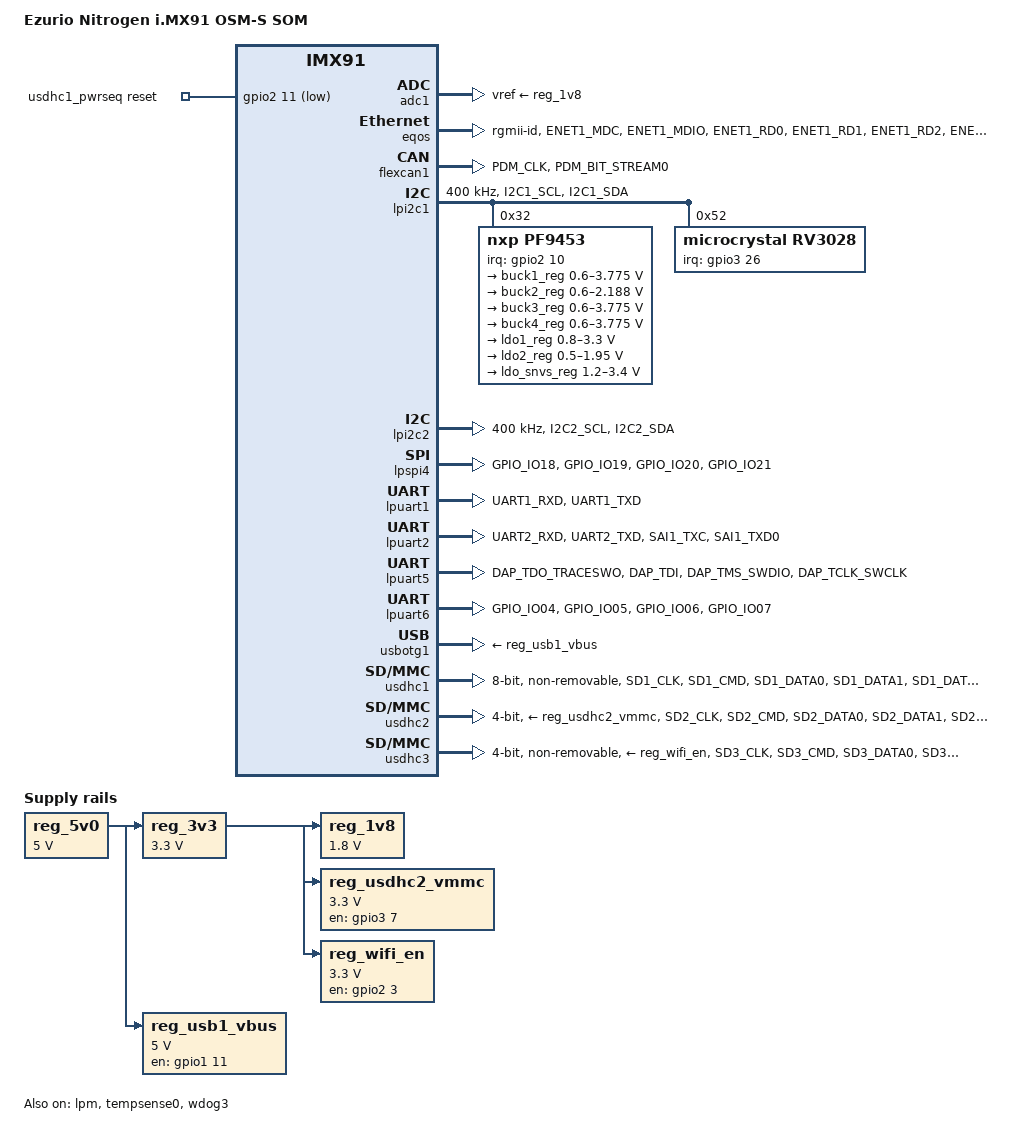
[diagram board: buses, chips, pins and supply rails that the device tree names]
// SPDX-License-Identifier: (GPL-2.0-or-later OR MIT)
/*
 * Nitrogen91 OSM-S SOM (Ezurio 750-00426 / 940-00186)
 *
 * Copyright 2026 Ezurio LLC
 *
 */

/dts-v1/;

#include <dt-bindings/gpio/gpio.h>
#include <dt-bindings/input/input.h>
#include <dt-bindings/interrupt-controller/irq.h>
#include <dt-bindings/leds/common.h>
#include <dt-bindings/usb/pd.h>

#include "imx91.dtsi"

/ {
	compatible = "summit,nitrogen-imx91-osm-s", "fsl,imx91";
	model = "Ezurio Nitrogen i.MX91 OSM-S SOM";

	aliases {
		mmc0 = &usdhc1;			/* eMMC */
		mmc1 = &usdhc2;			/* SDIO_A */
		mmc2 = &usdhc3;			/* On-SOM Wi-Fi */
		serial0 = &lpuart1;		/* UART_CON */
		serial1 = &lpuart2;		/* UART_A */
		serial2 = &lpuart5;		/* On-SOM BT HCI */
		serial3 = &lpuart6;		/* UART_B */
		ethernet0 = &eqos;		/* ETH_A */
		i2c0 = &lpi2c1;			/* I2C_B (also PMIC/RTC) */
		i2c1 = &lpi2c2;			/* I2C_A */
		spi0 = &lpspi4;			/* SPI_A */
		can0 = &flexcan1;		/* CAN_A */
		usb0 = &usbotg1;		/* USB_A */
		gpio0 = &gpio1;
		gpio1 = &gpio2;
		gpio2 = &gpio3;
		gpio3 = &gpio4;
		rtc0 = &rv3028;
		rtc1 = &bbnsm_rtc;
	};

	chosen {
		stdout-path = "serial0:115200n8";
	};

	reserved-memory {
		#address-cells = <2>;
		#size-cells = <2>;
		ranges;

		/* global cma region */
		linux_cma: linux,cma {
			compatible = "shared-dma-pool";
			reusable;
			alloc-ranges = <0 0x80000000 0 0x40000000>;
			size = <0 0x10000000>;
			linux,cma-default;
		};

		ele_reserved: ele-reserved@a4120000 {
			compatible = "shared-dma-pool";
			reg = <0 0xa4120000 0 0x100000>;
			no-map;
		};
	};

	reg_5v0: regulator-5v0 {
		compatible = "regulator-fixed";
		regulator-name = "reg_5v0";

		regulator-min-microvolt = <5000000>;
		regulator-max-microvolt = <5000000>;

		regulator-always-on;
		regulator-boot-on;
	};

	reg_3v3: regulator-3v3 {
		compatible = "regulator-fixed";
		regulator-name = "reg_3v3";

		vin-supply = <&reg_5v0>;
		regulator-min-microvolt = <3300000>;
		regulator-max-microvolt = <3300000>;

		regulator-always-on;
		regulator-boot-on;
	};

	reg_1v8: regulator-1v8 {
		compatible = "regulator-fixed";
		regulator-name = "reg_1v8";

		vin-supply = <&reg_3v3>;
		regulator-min-microvolt = <1800000>;
		regulator-max-microvolt = <1800000>;

		regulator-always-on;
		regulator-boot-on;
	};

	reg_usdhc2_vmmc: regulator-usdhc2-vmmc {
		compatible = "regulator-fixed";
		regulator-name = "reg_usdhc2_vmmc";
		regulator-min-microvolt = <3300000>;
		regulator-max-microvolt = <3300000>;
		vin-supply = <&reg_3v3>;

		pinctrl-names = "default";
		pinctrl-0 = <&pinctrl_reg_usdhc2_vmmc>;
		gpios = <&gpio3 7 GPIO_ACTIVE_HIGH>;	/* SDIO_A_VMMC_EN */
		enable-active-high;

		off-on-delay-us = <12000>;
	};

	reg_usb1_vbus: regulator-usb1-vbus {
		compatible = "regulator-fixed";
		regulator-name = "reg_usb1_vbus";
		regulator-min-microvolt = <5000000>;
		regulator-max-microvolt = <5000000>;
		vin-supply = <&reg_5v0>;

		pinctrl-names = "default";
		pinctrl-0 = <&pinctrl_usb1_vbus>;
		gpios = <&gpio1 11 GPIO_ACTIVE_HIGH>;
		enable-active-high;
	};

	reg_wifi_en: regulator-wifi-en {
		compatible = "regulator-fixed";
		regulator-name = "reg_wifi_en";

		vin-supply = <&reg_3v3>;
		regulator-min-microvolt = <3300000>;
		regulator-max-microvolt = <3300000>;

		pinctrl-names = "default";
		pinctrl-0 = <&pinctrl_wlan_en>;
		gpios = <&gpio2 3 GPIO_ACTIVE_HIGH>;	/* W_DISABLE1# / WL_EN */
		enable-active-high;
	};

	wifi_wakeup: wifi-wakeup {
		compatible = "gpio-keys";

		status = "disabled";

		pinctrl-names = "default";
		pinctrl-0 = <&pinctrl_wifi_wakeup>;

		wifi-wake {
			label = "Wi-Fi Wake Up";
			linux,code = <KEY_WAKEUP>;
			wakeup-source;

			interrupts-extended = <&gpio2 8 IRQ_TYPE_LEVEL_LOW>;	/* SDIO_HOST_WAKE# */
			interrupt-names = "irq";
		};

		bt-wake {
			label = "BT Wake Up";
			linux,code = <KEY_WAKEUP>;
			wakeup-source;

			interrupts-extended = <&gpio2 2 IRQ_TYPE_LEVEL_LOW>;	/* UART_HOST_WAKE# */
			interrupt-names = "irq";
		};
	};

	usdhc1_pwrseq: usdhc1-pwrseq {
		compatible = "mmc-pwrseq-emmc";

		pinctrl-names = "default";
		pinctrl-0 = <&pinctrl_usdhc1_reset>;
		reset-gpios = <&gpio2 11 GPIO_ACTIVE_LOW>;
	};

	display-subsystem {
		status = "disabled";
	};
};

&adc1 {
	vref-supply = <&reg_1v8>;
};

&ele_fw2 {
	memory-region = <&ele_reserved>;
};

&eqos {
	/* ETH_A - SOM routes RGMII pads; carrier picks PHY/handle */
	pinctrl-names = "default", "sleep";
	pinctrl-0 = <&pinctrl_eqos>;
	pinctrl-1 = <&pinctrl_eqos_sleep>;

	phy-mode = "rgmii-id";

	mdio {
		compatible = "snps,dwmac-mdio";
		#address-cells = <1>;
		#size-cells = <0>;
	};
};

&flexcan1 {
	/* CAN_A - SOM routes pads; carrier adds transceiver supply */
	pinctrl-names = "default", "sleep";
	pinctrl-0 = <&pinctrl_flexcan1>;
	pinctrl-1 = <&pinctrl_flexcan1_sleep>;
};

&lpi2c1 {
	/* I2C_B (also PMIC + on-SOM RTC) */
	pinctrl-names = "default";
	pinctrl-0 = <&pinctrl_lpi2c1>;

	clock-frequency = <400000>;
	status = "okay";

	#address-cells = <1>;
	#size-cells = <0>;

	pf9453: pmic@32 {
		compatible = "nxp,pf9453";
		reg = <0x32>;

		pinctrl-names = "default";
		pinctrl-0 = <&pinctrl_pmic>;
		interrupts-extended = <&gpio2 10 IRQ_TYPE_LEVEL_LOW>;	/* PMIC_IRQ_B */

		regulators {
			buck1_reg: BUCK1 {
				regulator-name = "VDD_SOC";
				regulator-min-microvolt = <600000>;
				regulator-max-microvolt = <3775000>;
				regulator-boot-on;
				regulator-always-on;
			};

			buck2_reg: BUCK2 {
				regulator-name = "VDD_LPDDR4";
				regulator-min-microvolt = <600000>;
				regulator-max-microvolt = <2187500>;
				regulator-boot-on;
				regulator-always-on;
				regulator-ramp-delay = <12500>;
			};

			buck3_reg: BUCK3 {
				regulator-name = "VDD_3V3_SW";
				regulator-min-microvolt = <600000>;
				regulator-max-microvolt = <3775000>;
				regulator-boot-on;
				regulator-always-on;
			};

			buck4_reg: BUCK4 {
				regulator-name = "VDD_1V8_SW";
				regulator-min-microvolt = <600000>;
				regulator-max-microvolt = <3775000>;
				regulator-boot-on;
				regulator-always-on;
			};

			ldo1_reg: LDO1 {
				regulator-name = "VDDA_1V8";
				regulator-min-microvolt = <800000>;
				regulator-max-microvolt = <3300000>;
				regulator-boot-on;
				regulator-always-on;
			};

			ldo2_reg: LDO2 {
				regulator-name = "NVCC_SD2";
				regulator-min-microvolt = <500000>;
				regulator-max-microvolt = <1950000>;
				regulator-boot-on;
				regulator-always-on;
			};

			ldo_snvs_reg: LDO_SNVS {
				regulator-name = "NVCC_SNVS_1V8";
				regulator-min-microvolt = <1200000>;
				regulator-max-microvolt = <3400000>;
				regulator-boot-on;
				regulator-always-on;
			};
		};
	};

	rv3028: rtc@52 {
		compatible = "microcrystal,rv3028";
		reg = <0x52>;

		backup-switchover-dsm;
		pinctrl-names = "default";
		pinctrl-0 = <&pinctrl_rtc>;
		interrupts-extended = <&gpio3 26 IRQ_TYPE_LEVEL_LOW>;	/* CCM_CLKO1 -> RTC_INT */
		interrupt-names = "irq";
		wakeup-source;

		#clock-cells = <0>;

		eeprom {
			compatible = "microcrystal,rv3028-eeprom";
			#address-cells = <1>;
			#size-cells = <1>;

			rtc_eeprom_eth_mac0: mac-address@0 {
				reg = <0x00 0x06>;
			};

			rtc_eeprom_eth_mac1: mac-address@6 {
				reg = <0x06 0x06>;
			};

			ram_type: ram-type@c {
				reg = <0x0c 0x02>;
			};

			radio_type: radio-type@e {
				reg = <0x0e 0x02>;
			};
		};
	};
};

&lpi2c2 {
	/* I2C_A */
	pinctrl-names = "default";
	pinctrl-0 = <&pinctrl_lpi2c2>;

	clock-frequency = <400000>;

	#address-cells = <1>;
	#size-cells = <0>;
};

&lpm {
	soc-supply = <&buck1_reg>;
	status = "okay";
};

&lpspi4 {
	/* SPI_A */
	pinctrl-names = "default", "sleep";
	pinctrl-0 = <&pinctrl_lpspi4>;
	pinctrl-1 = <&pinctrl_lpspi4>;

	fsl,spi-num-chipselects = <1>;
};

&lpuart1 {
	/* UART_CON */
	pinctrl-names = "default";
	pinctrl-0 = <&pinctrl_uart1>;
	status = "okay";
};

&lpuart2 {
	/* UART_A */
	pinctrl-names = "default";
	pinctrl-0 = <&pinctrl_uart2>;
	uart-has-rtscts;
};

&lpuart5 {
	/* On-SOM Wi-Fi/BT HCI UART */
	pinctrl-names = "default";
	pinctrl-0 = <&pinctrl_uart5>;
	uart-has-rtscts;
};

&lpuart6 {
	/* UART_B */
	pinctrl-names = "default";
	pinctrl-0 = <&pinctrl_uart6>;
};

&tempsense0 {
	status = "okay";
};

&usbotg1 {
	vbus-supply = <&reg_usb1_vbus>;
	samsung,picophy-pre-emp-curr-control = <3>;
	samsung,picophy-dc-vol-level-adjust = <7>;
};

&usdhc1 {
	/* eMMC */
	pinctrl-names = "default", "state_100mhz", "state_200mhz";
	pinctrl-0 = <&pinctrl_usdhc1>;
	pinctrl-1 = <&pinctrl_usdhc1_100mhz>;
	pinctrl-2 = <&pinctrl_usdhc1_200mhz>;

	pwrseq = <&usdhc1_pwrseq>;

	bus-width = <8>;
	non-removable;

	status = "okay";
};

&usdhc2 {
	/* SDIO_A */
	pinctrl-names = "default", "state_100mhz", "state_200mhz", "sleep";
	pinctrl-0 = <&pinctrl_usdhc2>;
	pinctrl-1 = <&pinctrl_usdhc2_100mhz>;
	pinctrl-2 = <&pinctrl_usdhc2_200mhz>;
	pinctrl-3 = <&pinctrl_usdhc2_sleep>;

	vmmc-supply = <&reg_usdhc2_vmmc>;

	bus-width = <4>;
	disable-wp;
};

&usdhc3 {
	/* Wi-Fi/BT */
	pinctrl-names = "default", "state_100mhz", "state_200mhz", "sleep";
	pinctrl-0 = <&pinctrl_usdhc3>;
	pinctrl-1 = <&pinctrl_usdhc3_100mhz>;
	pinctrl-2 = <&pinctrl_usdhc3_200mhz>;
	pinctrl-3 = <&pinctrl_usdhc3_sleep>;

	vmmc-supply = <&reg_wifi_en>;

	bus-width = <4>;
	non-removable;
	keep-power-in-suspend;
};

&wdog3 {
	status = "okay";
};

&iomuxc {
	/* ----- Ethernet (ETH_A / ENET1 RGMII) ----- */
	pinctrl_eqos: eqosgrp {
		fsl,pins = <
			MX91_PAD_ENET1_MDC__ENET1_MDC				0x57e
			MX91_PAD_ENET1_MDIO__ENET_QOS_MDIO			0x57e
			MX91_PAD_ENET1_RD0__ENET_QOS_RGMII_RD0			0x57e
			MX91_PAD_ENET1_RD1__ENET_QOS_RGMII_RD1			0x57e
			MX91_PAD_ENET1_RD2__ENET_QOS_RGMII_RD2			0x57e
			MX91_PAD_ENET1_RD3__ENET_QOS_RGMII_RD3			0x57e
			MX91_PAD_ENET1_RXC__ENET_QOS_RGMII_RXC			0x58e
			MX91_PAD_ENET1_RX_CTL__ENET_QOS_RGMII_RX_CTL		0x57e
			MX91_PAD_ENET1_TD0__ENET_QOS_RGMII_TD0			0x57e
			MX91_PAD_ENET1_TD1__ENET1_RGMII_TD1			0x57e
			MX91_PAD_ENET1_TD2__ENET_QOS_RGMII_TD2			0x57e
			MX91_PAD_ENET1_TD3__ENET_QOS_RGMII_TD3			0x57e
			MX91_PAD_ENET1_TXC__CCM_ENET_QOS_CLOCK_GENERATE_TX_CLK	0x58e
			MX91_PAD_ENET1_TX_CTL__ENET_QOS_RGMII_TX_CTL		0x57e
		>;
	};

	pinctrl_eqos_sleep: eqosgrpsleep {
		fsl,pins = <
			MX91_PAD_ENET1_MDC__GPIO4_IO0				0x31e
			MX91_PAD_ENET1_MDIO__GPIO4_IO1				0x31e
			MX91_PAD_ENET1_RD0__GPIO4_IO10				0x31e
			MX91_PAD_ENET1_RD1__GPIO4_IO11				0x31e
			MX91_PAD_ENET1_RD2__GPIO4_IO12				0x31e
			MX91_PAD_ENET1_RD3__GPIO4_IO13				0x31e
			MX91_PAD_ENET1_RXC__GPIO4_IO9				0x31e
			MX91_PAD_ENET1_RX_CTL__GPIO4_IO8			0x31e
			MX91_PAD_ENET1_TD0__GPIO4_IO5				0x31e
			MX91_PAD_ENET1_TD1__GPIO4_IO4				0x31e
			MX91_PAD_ENET1_TD2__GPIO4_IO3				0x31e
			MX91_PAD_ENET1_TD3__GPIO4_IO2				0x31e
			MX91_PAD_ENET1_TXC__GPIO4_IO7				0x31e
			MX91_PAD_ENET1_TX_CTL__GPIO4_IO6			0x31e
		>;
	};

	/* ----- I2C ----- */
	pinctrl_lpi2c1: lpi2c1grp { /* I2C_A */
		fsl,pins = <
			MX91_PAD_I2C1_SCL__LPI2C1_SCL				0x40000b9e	/* I2C_A_SCL (A12) */
			MX91_PAD_I2C1_SDA__LPI2C1_SDA				0x40000b9e	/* I2C_A_SDA (B12) */
		>;
	};

	pinctrl_lpi2c2: lpi2c2grp { /* I2C_B */
		fsl,pins = <
			MX91_PAD_I2C2_SCL__LPI2C2_SCL				0x40000b9e	/* I2C_B_SCL (A11) */
			MX91_PAD_I2C2_SDA__LPI2C2_SDA				0x40000b9e	/* I2C_B_SDA (B11) */
		>;
	};

	/* ----- On-SOM control signals ----- */
	pinctrl_pmic: pmicgrp {
		fsl,pins = <
			MX91_PAD_GPIO_IO10__GPIO2_IO10				0x31e	/* PMIC_IRQ_B (F17) */
		>;
	};

	pinctrl_rtc: rtcgrp {
		fsl,pins = <
			MX91_PAD_CCM_CLKO1__GPIO3_IO26				0x31e	/* RTC_INT (T4) */
		>;
	};

	pinctrl_wlan_en: wlanengrp {
		fsl,pins = <
			MX91_PAD_GPIO_IO03__GPIO2_IO3				0x31e	/* W_DISABLE1# / WL_EN (C17) */
		>;
	};

	pinctrl_bt_en: btengrp {
		fsl,pins = <
			MX91_PAD_GPIO_IO01__GPIO2_IO1				0x31e	/* W_DISABLE2# / BT_EN (B17) */
		>;
	};

	pinctrl_wifi_wakeup: wifiwakeupgrp {
		fsl,pins = <
			MX91_PAD_GPIO_IO08__GPIO2_IO8				0x131e	/* SDIO_HOST_WAKE# (K14) */
			MX91_PAD_GPIO_IO02__GPIO2_IO2				0x131e	/* UART_HOST_WAKE# (C16) */
		>;
	};

	/* ----- CAN ----- */
	pinctrl_flexcan1: flexcan1grp {	/* CAN_A */
		fsl,pins = <
			MX91_PAD_PDM_CLK__CAN1_TX				0x139e	/* CAN_A_TX (A16) */
			MX91_PAD_PDM_BIT_STREAM0__CAN1_RX			0x139e	/* CAN_A_RX (A10) */
		>;
	};

	pinctrl_flexcan1_sleep: flexcan1sleepgrp {
		fsl,pins = <
			MX91_PAD_PDM_CLK__GPIO1_IO8				0x31e
			MX91_PAD_PDM_BIT_STREAM0__GPIO1_IO9			0x31e
		>;
	};

	/* ----- SPI ----- */
	pinctrl_lpspi4: lpspi4grp {	/* SPI_A */
		fsl,pins = <
			MX91_PAD_GPIO_IO18__LPSPI4_PCS0				0x3fe	/* SPI_A_CS0# (M14) */
			MX91_PAD_GPIO_IO19__LPSPI4_SIN				0x3fe	/* SPI_A_SDI (J17) */
			MX91_PAD_GPIO_IO20__LPSPI4_SOUT				0x3fe	/* SPI_A_SDO (K16) */
			MX91_PAD_GPIO_IO21__LPSPI4_SCK				0x3fe	/* SPI_A_SCK (K17) */
		>;
	};

	/* ----- USB ----- */
	pinctrl_usb1_vbus: usb1vbusgrp { /* USB_A */
		fsl,pins = <
			MX91_PAD_SAI1_TXFS__GPIO1_IO11				0x31e	/* USB_A_VBUS (L14) */
		>;
	};

	/* ----- UARTs ----- */
	pinctrl_uart1: uart1grp {	/* UART_CON */
		fsl,pins = <
			MX91_PAD_UART1_RXD__LPUART1_RX				0x131e	/* UART_CON_RX (B13) */
			MX91_PAD_UART1_TXD__LPUART1_TX				0x31e	/* UART_CON_TX (A13) */
		>;
	};

	pinctrl_uart2: uart2grp { /* UART_A (4-wire) */
		fsl,pins = <
			MX91_PAD_UART2_RXD__LPUART2_RX				0x131e	/* UART_A_RX   (D14) */
			MX91_PAD_UART2_TXD__LPUART2_TX				0x31e	/* UART_A_TX   (D12) */
			MX91_PAD_SAI1_TXC__LPUART2_CTS_B			0x131e	/* UART_A_CTS  (B15) */
			MX91_PAD_SAI1_TXD0__LPUART2_RTS_B			0x131e	/* UART_A_RTS  (A15) */
		>;
	};

	pinctrl_uart5: uart5grp {	/* WiFi/BT HCI on DAP/JTAG pads */
		fsl,pins = <
			MX91_PAD_DAP_TDO_TRACESWO__LPUART5_TX			0x31e	/* WIFI_UART_TXD (T3) */
			MX91_PAD_DAP_TDI__LPUART5_RX				0x131e	/* WIFI_UART_RXD (P8) */
			MX91_PAD_DAP_TMS_SWDIO__LPUART5_RTS_B			0x131e	/* WIFI_UART_RTS (P6) */
			MX91_PAD_DAP_TCLK_SWCLK__LPUART5_CTS_B			0x131e	/* WIFI_UART_CTS (U3) */
		>;
	};

	pinctrl_uart6: uart6grp {	/* UART_B */
		fsl,pins = <
			MX91_PAD_GPIO_IO04__LPUART6_TX				0x31e	/* UART_B_TX (D16) */
			MX91_PAD_GPIO_IO05__LPUART6_RX				0x131e	/* UART_B_RX (D17) */
			MX91_PAD_GPIO_IO06__LPUART6_CTS_B			0x131e	/* UART_B_CTS (E16) */
			MX91_PAD_GPIO_IO07__LPUART6_RTS_B			0x131e	/* UART_B_RTS (E17) */
		>;
	};

	/* ----- USDHC1 (eMMC) ----- */
	pinctrl_usdhc1_reset: usdhc1resetgrp {
		fsl,pins = <
			MX91_PAD_GPIO_IO11__GPIO2_IO11		0x31e
		>;
	};

	pinctrl_usdhc1: usdhc1grp {
		fsl,pins = <
			MX91_PAD_SD1_CLK__USDHC1_CLK		0x1582
			MX91_PAD_SD1_CMD__USDHC1_CMD		0x1382
			MX91_PAD_SD1_DATA0__USDHC1_DATA0	0x1382
			MX91_PAD_SD1_DATA1__USDHC1_DATA1	0x1382
			MX91_PAD_SD1_DATA2__USDHC1_DATA2	0x1382
			MX91_PAD_SD1_DATA3__USDHC1_DATA3	0x1382
			MX91_PAD_SD1_DATA4__USDHC1_DATA4	0x1382
			MX91_PAD_SD1_DATA5__USDHC1_DATA5	0x1382
			MX91_PAD_SD1_DATA6__USDHC1_DATA6	0x1382
			MX91_PAD_SD1_DATA7__USDHC1_DATA7	0x1382
			MX91_PAD_SD1_STROBE__USDHC1_STROBE	0x1582
		>;
	};

	pinctrl_usdhc1_100mhz: usdhc1-100mhzgrp {
		fsl,pins = <
			MX91_PAD_SD1_CLK__USDHC1_CLK		0x1586
			MX91_PAD_SD1_CMD__USDHC1_CMD		0x1386
			MX91_PAD_SD1_DATA0__USDHC1_DATA0	0x1386
			MX91_PAD_SD1_DATA1__USDHC1_DATA1	0x1386
			MX91_PAD_SD1_DATA2__USDHC1_DATA2	0x1386
			MX91_PAD_SD1_DATA3__USDHC1_DATA3	0x1386
			MX91_PAD_SD1_DATA4__USDHC1_DATA4	0x1386
			MX91_PAD_SD1_DATA5__USDHC1_DATA5	0x1386
			MX91_PAD_SD1_DATA6__USDHC1_DATA6	0x1386
			MX91_PAD_SD1_DATA7__USDHC1_DATA7	0x1386
			MX91_PAD_SD1_STROBE__USDHC1_STROBE	0x1586
		>;
	};

	pinctrl_usdhc1_200mhz: usdhc1-200mhzgrp {
		fsl,pins = <
			MX91_PAD_SD1_CLK__USDHC1_CLK		0x1586
			MX91_PAD_SD1_CMD__USDHC1_CMD		0x1386
			MX91_PAD_SD1_DATA0__USDHC1_DATA0	0x1386
			MX91_PAD_SD1_DATA1__USDHC1_DATA1	0x1386
			MX91_PAD_SD1_DATA2__USDHC1_DATA2	0x1386
			MX91_PAD_SD1_DATA3__USDHC1_DATA3	0x1386
			MX91_PAD_SD1_DATA4__USDHC1_DATA4	0x1386
			MX91_PAD_SD1_DATA5__USDHC1_DATA5	0x1386
			MX91_PAD_SD1_DATA6__USDHC1_DATA6	0x1386
			MX91_PAD_SD1_DATA7__USDHC1_DATA7	0x1386
			MX91_PAD_SD1_STROBE__USDHC1_STROBE	0x1586
		>;
	};

	/* ----- USDHC2 (SDIO_A) ----- */
	pinctrl_reg_usdhc2_vmmc: regusdhc2vmmcgrp {
		fsl,pins = <
			MX91_PAD_SD2_RESET_B__GPIO3_IO7		0x31e
		>;
	};

	pinctrl_usdhc2_gpio: usdhc2gpiogrp {
		fsl,pins = <
			MX91_PAD_SD2_CD_B__GPIO3_IO0		0x31e
			MX91_PAD_SD2_VSELECT__USDHC2_VSELECT	0x51e
		>;
	};

	pinctrl_usdhc2_gpio_sleep: usdhc2gpiosleepgrp {
		fsl,pins = <
			MX91_PAD_SD2_CD_B__GPIO3_IO0		0x51e
			MX91_PAD_SD2_VSELECT__USDHC2_VSELECT	0x51e
		>;
	};

	pinctrl_usdhc2: usdhc2grp {
		fsl,pins = <
			MX91_PAD_SD2_CLK__USDHC2_CLK		0x1582
			MX91_PAD_SD2_CMD__USDHC2_CMD		0x1382
			MX91_PAD_SD2_DATA0__USDHC2_DATA0	0x1382
			MX91_PAD_SD2_DATA1__USDHC2_DATA1	0x1382
			MX91_PAD_SD2_DATA2__USDHC2_DATA2	0x1382
			MX91_PAD_SD2_DATA3__USDHC2_DATA3	0x1382
		>;
	};

	pinctrl_usdhc2_100mhz: usdhc2-100mhzgrp {
		fsl,pins = <
			MX91_PAD_SD2_CLK__USDHC2_CLK		0x158e
			MX91_PAD_SD2_CMD__USDHC2_CMD		0x138e
			MX91_PAD_SD2_DATA0__USDHC2_DATA0	0x138e
			MX91_PAD_SD2_DATA1__USDHC2_DATA1	0x138e
			MX91_PAD_SD2_DATA2__USDHC2_DATA2	0x138e
			MX91_PAD_SD2_DATA3__USDHC2_DATA3	0x138e
		>;
	};

	pinctrl_usdhc2_200mhz: usdhc2-200mhzgrp {
		fsl,pins = <
			MX91_PAD_SD2_CLK__USDHC2_CLK		0x15fe
			MX91_PAD_SD2_CMD__USDHC2_CMD		0x13fe
			MX91_PAD_SD2_DATA0__USDHC2_DATA0	0x13fe
			MX91_PAD_SD2_DATA1__USDHC2_DATA1	0x13fe
			MX91_PAD_SD2_DATA2__USDHC2_DATA2	0x13fe
			MX91_PAD_SD2_DATA3__USDHC2_DATA3	0x13fe
		>;
	};

	pinctrl_usdhc2_sleep: usdhc2sleepgrp {
		fsl,pins = <
			MX91_PAD_SD2_CLK__GPIO3_IO1		0x51e
			MX91_PAD_SD2_CMD__GPIO3_IO2		0x51e
			MX91_PAD_SD2_DATA0__GPIO3_IO3		0x51e
			MX91_PAD_SD2_DATA1__GPIO3_IO4		0x51e
			MX91_PAD_SD2_DATA2__GPIO3_IO5		0x51e
			MX91_PAD_SD2_DATA3__GPIO3_IO6		0x51e
		>;
	};

	/* ----- USDHC3 (On-SOM Wi-Fi) ----- */
	pinctrl_usdhc3: usdhc3grp {
		fsl,pins = <
			MX91_PAD_SD3_CLK__USDHC3_CLK		0x1582
			MX91_PAD_SD3_CMD__USDHC3_CMD		0x1382
			MX91_PAD_SD3_DATA0__USDHC3_DATA0	0x1382
			MX91_PAD_SD3_DATA1__USDHC3_DATA1	0x1382
			MX91_PAD_SD3_DATA2__USDHC3_DATA2	0x1382
			MX91_PAD_SD3_DATA3__USDHC3_DATA3	0x1382
		>;
	};

	pinctrl_usdhc3_100mhz: usdhc3-100mhzgrp {
		fsl,pins = <
			MX91_PAD_SD3_CLK__USDHC3_CLK		0x158e
			MX91_PAD_SD3_CMD__USDHC3_CMD		0x138e
			MX91_PAD_SD3_DATA0__USDHC3_DATA0	0x138e
			MX91_PAD_SD3_DATA1__USDHC3_DATA1	0x138e
			MX91_PAD_SD3_DATA2__USDHC3_DATA2	0x138e
			MX91_PAD_SD3_DATA3__USDHC3_DATA3	0x138e
		>;
	};

	pinctrl_usdhc3_200mhz: usdhc3-200mhzgrp {
		fsl,pins = <
			MX91_PAD_SD3_CLK__USDHC3_CLK		0x15fe
			MX91_PAD_SD3_CMD__USDHC3_CMD		0x13fe
			MX91_PAD_SD3_DATA0__USDHC3_DATA0	0x13fe
			MX91_PAD_SD3_DATA1__USDHC3_DATA1	0x13fe
			MX91_PAD_SD3_DATA2__USDHC3_DATA2	0x13fe
			MX91_PAD_SD3_DATA3__USDHC3_DATA3	0x13fe
		>;
	};

	pinctrl_usdhc3_sleep: usdhc3grpsleep {
		fsl,pins = <
			MX91_PAD_SD3_CLK__GPIO3_IO20		0x31e
			MX91_PAD_SD3_CMD__GPIO3_IO21		0x31e
			MX91_PAD_SD3_DATA0__GPIO3_IO22		0x31e
			MX91_PAD_SD3_DATA1__GPIO3_IO23		0x31e
			MX91_PAD_SD3_DATA2__GPIO3_IO24		0x31e
			MX91_PAD_SD3_DATA3__GPIO3_IO25		0x31e
		>;
	};

	/* ----- Per-OSM-signal pinctrl groups (carrier overrides as needed) ----- */
	pinctrl_osm_gpio_a_0: osm-gpio-a-0-grp {
		fsl,pins = <
			MX91_PAD_GPIO_IO12__GPIO2_IO12				0x131e	/* GPIO_A_0 (F14) */
		>;
	};

	pinctrl_osm_gpio_a_1: osm-gpio-a-1-grp {
		fsl,pins = <
			MX91_PAD_GPIO_IO13__GPIO2_IO13				0x131e	/* GPIO_A_1 (G17) */
		>;
	};

	pinctrl_osm_gpio_a_2: osm-gpio-a-2-grp {
		fsl,pins = <
			MX91_PAD_GPIO_IO14__GPIO2_IO14				0x131e	/* GPIO_A_2 (H16) */
		>;
	};

	pinctrl_osm_gpio_a_3: osm-gpio-a-3-grp {
		fsl,pins = <
			MX91_PAD_GPIO_IO15__GPIO2_IO15				0x131e	/* GPIO_A_3 (H17) */
		>;
	};

	pinctrl_osm_gpio_a_4: osm-gpio-a-4-grp {
		fsl,pins = <
			MX91_PAD_GPIO_IO16__GPIO2_IO16				0x131e	/* GPIO_A_4 (J16) */
		>;
	};

	pinctrl_osm_gpio_a_5: osm-gpio-a-5-grp {
		fsl,pins = <
			MX91_PAD_GPIO_IO17__GPIO2_IO17				0x131e	/* GPIO_A_5 (K15) */
		>;
	};

	pinctrl_osm_gpio_a_6: osm-gpio-a-6-grp {
		fsl,pins = <
			MX91_PAD_GPIO_IO09__GPIO2_IO9				0x131e	/* GPIO_A_6 (F16) */
		>;
	};

	pinctrl_osm_gpio_a_7: osm-gpio-a-7-grp {
		fsl,pins = <
			MX91_PAD_PDM_BIT_STREAM1__GPIO1_IO10			0x131e	/* GPIO_A_7 (B10) */
		>;
	};

	pinctrl_osm_gpio_b_0: osm-gpio-b-0-grp {
		fsl,pins = <
			MX91_PAD_SAI1_RXD0__GPIO1_IO14				0x131e	/* GPIO_B_0 (B14) */
		>;
	};

	pinctrl_osm_carrier_pwr_en: osm-carrier-pwr-en-grp {
		fsl,pins = <
			MX91_PAD_GPIO_IO00__GPIO2_IO0				0x31e	/* CARRIER_PWR_EN (B16) */
		>;
	};
};
